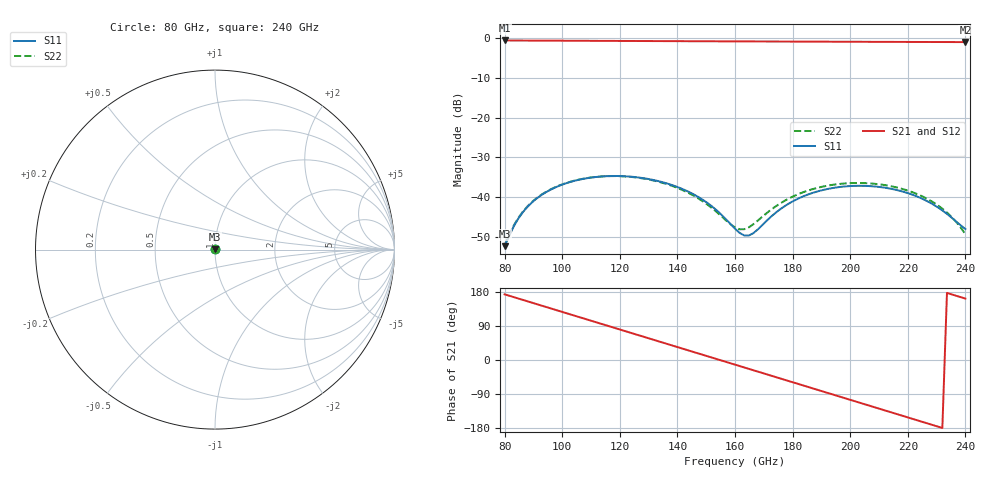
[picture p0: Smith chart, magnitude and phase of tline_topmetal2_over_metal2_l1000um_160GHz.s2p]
#  GHZ S DB R 50
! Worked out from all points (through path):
!   101 points, 80 GHz to 240 GHz, reference 50 ohm
!   highest |S21| = -0.65 dB at 80 GHz (marker M1); lowest = -1.1 dB at 240 GHz (marker M2)
!   group delay of S21, straight-line fit = 6.44 ps
!   lowest |S11| = -52.3 dB at 80 GHz (marker M3), VSWR 1.00, Z = 50.2 + j0.144 ohm
!   |S11| at or under -10 dB: start of sweep to end of sweep
!   |S22| runs from -52.0 to -34.7 dB; largest |S21 - S12| = 1.1e-14
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80  -52.26 36.1  -0.65 173.3  -0.65 173.3  -52.01 34.5
84.8  -45.29 -13.7  -0.66 162.2  -0.66 162.2  -45.12 -13.9
89.6  -41.22 -35.6  -0.68 151.0  -0.68 151.0  -41.11 -35.7
97.6  -37.52 -62.7  -0.70 132.5  -0.70 132.5  -37.45 -62.7
107.2  -35.39 -91.6  -0.73 110.2  -0.73 110.2  -35.36 -91.7
113.6  -34.78 -110.3  -0.75 95.4  -0.75 95.4  -34.78 -110.4
120  -34.67 -128.9  -0.77 80.5  -0.77 80.5  -34.70 -129.2
126.4  -35.02 -147.7  -0.79 65.7  -0.79 65.7  -35.10 -148.2
134.4  -36.13 -171.8  -0.81 47.1  -0.81 47.1  -36.28 -172.7
147.2  -39.90 145.7  -0.85 17.4  -0.85 17.4  -40.26 142.6
153.6  -43.24 118.4  -0.86 2.6  -0.86 2.6  -43.67 111.9
160  -47.88 74.6  -0.88 -12.2  -0.88 -12.2  -47.55 61.0
164.8  -49.59 18.3  -0.89 -23.4  -0.89 -23.4  -47.54 8.0
176  -42.84 -68.3  -0.92 -49.4  -0.92 -49.4  -41.40 -65.4
187.2  -38.84 -110.3  -0.95 -75.3  -0.95 -75.3  -37.90 -106.2
200  -37.18 -150.4  -0.98 -105.1  -0.98 -105.1  -36.45 -145.8
206.4  -37.17 -169.9  -0.99 -119.9  -0.99 -119.9  -36.49 -164.7
214.4  -37.90 165.4  -1.01 -138.5  -1.01 -138.5  -37.25 171.6
222.4  -39.56 139.2  -1.03 -157.1  -1.03 -157.1  -38.94 147.3
228.8  -41.79 115.2  -1.04 -171.9  -1.04 -171.9  -41.24 126.3
235.2  -45.09 83.7  -1.05 173.2  -1.05 173.2  -44.92 100.8
240  -47.97 46.9  -1.06 162.1  -1.06 162.1  -49.25 71.2
